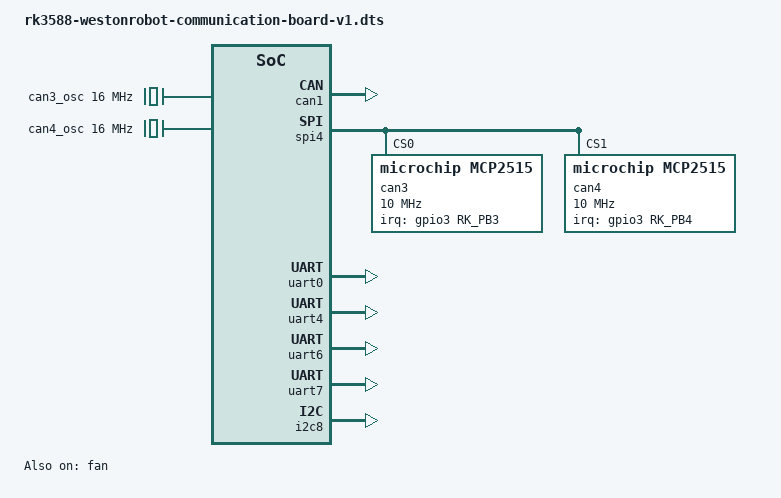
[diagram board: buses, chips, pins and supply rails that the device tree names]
/dts-v1/;
/plugin/;

#include <dt-bindings/gpio/gpio.h>
#include <dt-bindings/pinctrl/rockchip.h>
#include <dt-bindings/interrupt-controller/irq.h>

/ {
	metadata {
		title = "Enable Weston Robot Communication Board interfaces";
		compatible = "unknown";
		category = "misc";
		description = "Provide support 3 CAN, 2 RS485, 2 RS232 and 1 I2C.";
	};

    fragment@0 {
		target = <&can1>;

		__overlay__ {
			status = "okay";
			pinctrl-names = "default";
			pinctrl-0 = <&can1m0_pins>;
		};
	};

	fragment@1 {
		target = <&spi4>;
		__overlay__ {
			status = "okay";
			pinctrl-names = "default";
			pinctrl-0 = <&spi4m1_pins &spi4m1_cs0 &spi4m1_cs1>;

			can3: mcp2515_0@0 {
				compatible = "microchip,mcp2515";
				reg = <0>;
				spi-max-frequency = <10000000>;

				pinctrl-names = "default";
				pinctrl-0 = <&mcp2515_0_int_pins>;

				interrupt-parent = <&gpio3>;
				interrupts = <RK_PB3 IRQ_TYPE_EDGE_FALLING>;

				clocks = <&can3_osc>;
			};

            can4: mcp2515_1@1 {
				compatible = "microchip,mcp2515";
				reg = <1>;
				spi-max-frequency = <10000000>;

				pinctrl-names = "default";
				pinctrl-0 = <&mcp2515_1_int_pins>;

				interrupt-parent = <&gpio3>;
				interrupts = <RK_PB4 IRQ_TYPE_EDGE_FALLING>;

				clocks = <&can4_osc>;
			};
		};
	};

	fragment@2 {
		target = <&pinctrl>;
		__overlay__ {
			mcp2515_0 {
				mcp2515_0_int_pins: mcp2515-0-int-pins {
					rockchip,pins = <3 RK_PB3 RK_FUNC_GPIO &pcfg_pull_up>;
				};
			};
            mcp2515_1 {	
                mcp2515_1_int_pins: mcp2515-1-int-pins {
					rockchip,pins = <3 RK_PB4 RK_FUNC_GPIO &pcfg_pull_up>;
				};
			};
		};
	};

	fragment@3 {
		target-path = "/";
		__overlay__ {
			can3_osc: can3-osc {
				compatible = "fixed-clock";
				#clock-cells = <0>;
				clock-frequency  = <16000000>;
			};
            can4_osc: can4-osc {
				compatible = "fixed-clock";
				#clock-cells = <0>;
				clock-frequency  = <16000000>;
			};
		};
	};

    fragment@4 {
		target = <&uart0>;

		__overlay__ {
			status = "okay";
			pinctrl-0 = <&uart0m0_xfer>;
		};
	};

    fragment@5 {
		target = <&uart4>;

		__overlay__ {
			status = "okay";
			pinctrl-0 = <&uart4m2_xfer>;
		};
	};

    fragment@6 {
		target = <&uart6>;

		__overlay__ {
			status = "okay";
			pinctrl-0 = <&uart6m1_xfer>;
		};
	};

    fragment@7 {
		target = <&uart7>;

		__overlay__ {
			status = "okay";
			pinctrl-0 = <&uart7m2_xfer>;
		};
	};

    fragment@8 {
		target = <&i2c8>;

		__overlay__ {
			status = "okay";
			pinctrl-names = "default";
			pinctrl-0 = <&i2c8m2_xfer>;
		};
	};

    fragment@9 {
		target = <&fan>;

		__overlay__ {
			status = "okay";
			cooling-levels = <0 80 100 150 200 255>;
            rockchip,temp-trips = <
                50000	1
                55000	2
                60000	3
                65000	4
                70000	5
            >;
		};
	};
};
